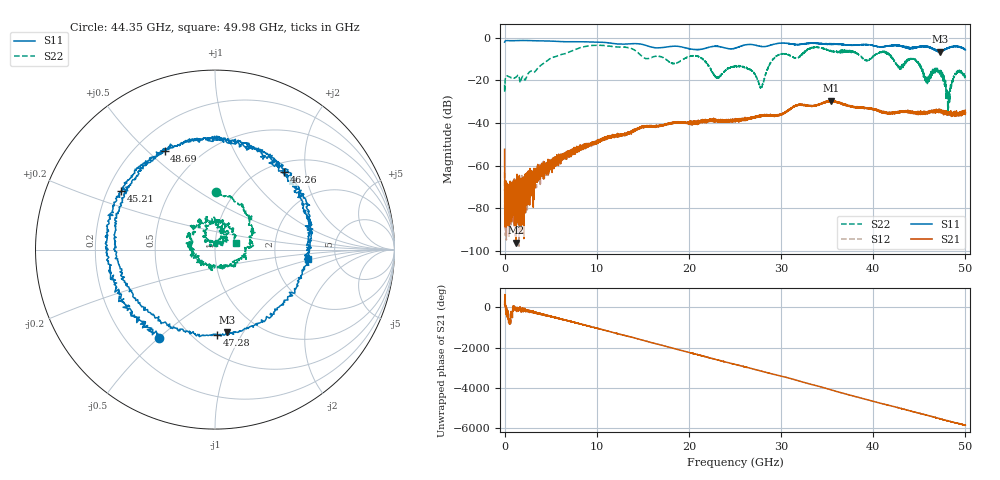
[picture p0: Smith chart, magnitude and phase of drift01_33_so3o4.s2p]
!Created with skrf (http://scikit-rf.org).
# Hz S RI R 50.0
!freq ReS11 ImS11 ReS21 ImS21 ReS12 ImS12 ReS22 ImS22
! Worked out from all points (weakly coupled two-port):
!   10001 points, 300 kHz to 50 GHz, reference 50 ohm
!   highest |S21| = -29.56 dB at 35.4 GHz (marker M1); lowest = -96.2 dB at 1.225 GHz (marker M2)
!   lowest |S11| = -6.7 dB at 47.24 GHz (marker M3), VSWR 2.74, Z = 36.1 - j42.4 ohm
!   |S11| at or under -10 dB: nowhere
!   |S22| runs from -37.0 to -3.6 dB; largest |S21 - S12| = 0.005
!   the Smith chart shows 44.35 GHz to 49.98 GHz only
!   S11 on the Smith chart (normalised r, x): 44.35 GHz: 0.34, -0.50; 45.21 GHz: 0.26, +0.27; 46.26 GHz: 1.18, +1.53; 47.28 GHz: 0.65, -0.79; 48.69 GHz: 0.32, +0.56; 49.98 GHz: 3.12, -0.44
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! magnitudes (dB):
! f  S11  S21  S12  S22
! 300 kHz  -2.1  -52.4  -63.3  -22.1
! 260.3 MHz  -1.4  -73.6  -80.1  -18.0
! 1.225 GHz  -1.4  -96.2  -72.6  -18.6
! 8.335 GHz  -2.0  -52.3  -50.8  -4.6
! 16.67 GHz  -4.8  -41.8  -41.7  -8.7
! 20.96 GHz  -5.6  -40.2  -39.8  -8.7
! 23.07 GHz  -4.1  -38.7  -39.0  -18.6
! 25 GHz  -5.0  -39.0  -38.5  -13.7
! 27.84 GHz  -4.2  -36.6  -36.7  -22.9
! 29.47 GHz  -2.9  -36.5  -36.7  -8.8
! 33.34 GHz  -2.6  -32.0  -31.9  -4.7
! 35.4 GHz  -2.9  -29.6  -29.8  -6.2
! 41.67 GHz  -3.9  -35.4  -35.5  -7.9
! 44.35 GHz  -4.7  -35.0  -35.2  -9.9
! 45.21 GHz  -4.2  -35.1  -35.4  -13.3
! 46.26 GHz  -4.8  -35.1  -34.8  -17.5
! 47.24 GHz  -6.7  -34.1  -33.9  -17.1
! 47.28 GHz  -6.5  -34.7  -34.9  -16.4
! 48.12 GHz  -4.9  -35.7  -34.9  -33.3
! 48.69 GHz  -4.2  -36.1  -35.6  -18.9
! 49.98 GHz  -5.6  -35.1  -35.1  -18.4
! 50 GHz  -5.7  -35.1  -34.7  -18.5
